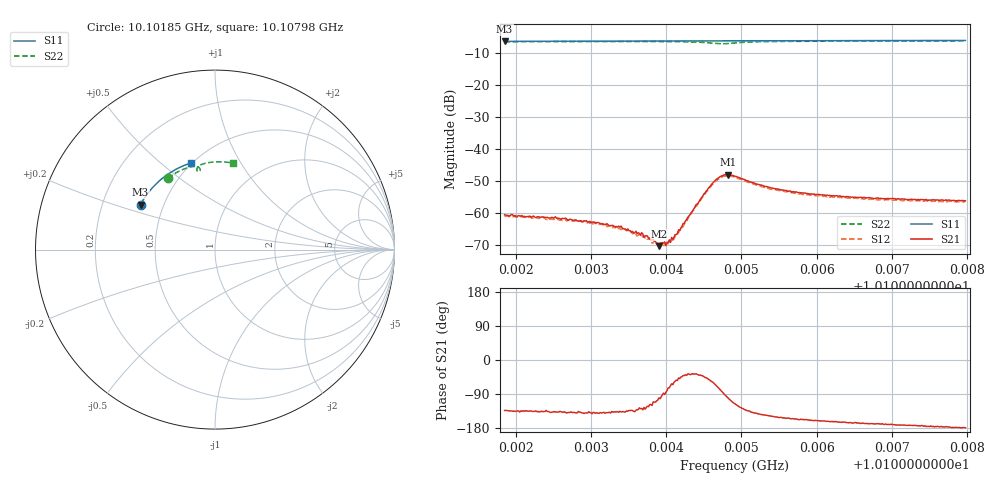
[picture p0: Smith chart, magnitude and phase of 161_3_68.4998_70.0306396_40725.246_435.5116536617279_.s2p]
#  HZ  S  RI  R  50.00
! Rohde & Schwarz Vector Network Analyzer
! Rohde-Schwarz,ZNB20-2Port,1311601062101988,3.16
! Created: UTC 3/20/2024, 4:55:48 PM
! freq[Hz]  re:S11  im:S11  re:S21  im:S21  re:S12  im:S12  re:S22  im:S22
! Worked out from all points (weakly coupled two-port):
!   401 points, 10.10185 GHz to 10.10798 GHz, reference 50 ohm
!   highest |S21| = -48.02 dB at 10.10482 GHz (marker M1); lowest = -70.4 dB at 10.1039 GHz (marker M2)
!   lowest |S11| = -6.3 dB at 10.10185 GHz (marker M3), VSWR 2.88, Z = 18.5 + j12.1 ohm
!   |S11| at or under -10 dB: nowhere
!   |S22| runs from -7.1 to -6.2 dB; largest |S21 - S12| = 0.0004
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1.0101851e10  -0.4151 0.2504  -0.000639 -0.000679  -0.000538 -0.000697  -0.2627 0.3984
1.010251e10  -0.3947 0.2849  -0.000602 -0.000581  -0.000534 -0.000583  -0.2267 0.4221
1.0102877e10  -0.3821 0.3035  -0.000556 -0.000477  -0.000485 -0.000536  -0.2054 0.4339
1.0103168e10  -0.3714 0.3177  -0.000497 -0.00045  -0.000444 -0.000464  -0.188 0.4425
1.0103398e10  -0.3628 0.3285  -0.000453 -0.000426  -0.000371 -0.000403  -0.1737 0.4487
1.010346e10  -0.3604 0.3315  -0.000402 -0.000379  -0.00037 -0.00041  -0.1696 0.4503
1.0103705e10  -0.3506 0.3427  -0.00024 -0.00034  -0.000249 -0.000351  -0.1535 0.4561
1.0103904e10  -0.3423 0.3518  -5.22e-05 -0.000297  -3.53e-05 -0.000322  -0.1393 0.4603
1.010398e10  -0.3392 0.355  -5.95e-06 -0.000352  5.42e-05 -0.000305  -0.1335 0.4616
1.0104026e10  -0.3372 0.3571  9.95e-05 -0.000333  0.000119 -0.000313  -0.13 0.4624
1.0104088e10  -0.3347 0.3597  0.000162 -0.00035  0.000226 -0.000297  -0.1253 0.4631
1.0104226e10  -0.3288 0.3657  0.000514 -0.000444  0.00049 -0.000387  -0.1136 0.4642
1.0104363e10  -0.3227 0.3715  0.00091 -0.000691  0.000934 -0.000592  -0.1011 0.4628
1.0104501e10  -0.3167 0.377  0.00141 -0.00137  0.00147 -0.00118  -0.0884 0.4566
1.0104624e10  -0.311 0.3819  0.00151 -0.00256  0.00164 -0.00234  -0.0824 0.4447
1.0104731e10  -0.3061 0.3861  0.000566 -0.00373  0.000878 -0.0035  -0.0887 0.435
1.0104823e10  -0.3022 0.3898  -0.000727 -0.00391  -0.000368 -0.00379  -0.0981 0.4373
1.0104915e10  -0.2979 0.3934  -0.00161 -0.00337  -0.00132 -0.00339  -0.1016 0.4462
1.0105375e10  -0.2759 0.4107  -0.00212 -0.00135  -0.00189 -0.00144  -0.0735 0.4751
1.0105942e10  -0.2474 0.4301  -0.00184 -0.000699  -0.00171 -0.000809  -0.0332 0.4851
1.0106968e10  -0.1929 0.4594  -0.00164 -0.000279  -0.00157 -0.00043  0.0351 0.4887
1.0107979e10  -0.1358 0.4815  -0.00155 -3.22e-05  -0.0015 -0.00016  0.1001 0.4822
